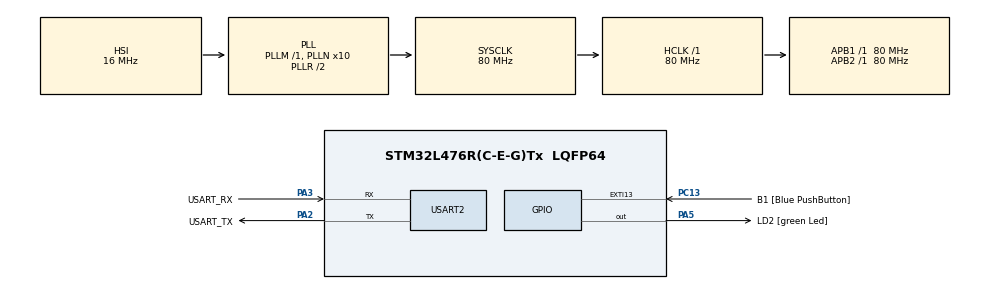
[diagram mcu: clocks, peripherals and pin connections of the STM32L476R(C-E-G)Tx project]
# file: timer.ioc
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Mcu.Family=STM32L4
Mcu.Name=STM32L476R(C-E-G)Tx
Mcu.Package=LQFP64
NVIC.EXTI15_10_IRQn=true\:0\:0\:false\:false\:true\:true\:true\:true
NVIC.PriorityGroup=NVIC_PRIORITYGROUP_4
NVIC.TIM6_DAC_IRQn=true\:0\:0\:false\:false\:true\:true\:true\:true
PA13\ (JTMS-SWDIO).GPIO_Label=TMS
PA13\ (JTMS-SWDIO).Mode=Serial_Wire
PA13\ (JTMS-SWDIO).Signal=SYS_JTMS-SWDIO
PA14\ (JTCK-SWCLK).GPIO_Label=TCK
PA14\ (JTCK-SWCLK).Mode=Serial_Wire
PA14\ (JTCK-SWCLK).Signal=SYS_JTCK-SWCLK
PA2.GPIO_Label=USART_TX
PA2.GPIO_Mode=GPIO_MODE_AF_PP
PA2.GPIO_PuPd=GPIO_NOPULL
PA2.GPIO_Speed=GPIO_SPEED_FREQ_VERY_HIGH
PA2.Mode=Asynchronous
PA2.Signal=USART2_TX
PA3.GPIO_Label=USART_RX
PA3.GPIO_Mode=GPIO_MODE_AF_PP
PA3.GPIO_PuPd=GPIO_NOPULL
PA3.GPIO_Speed=GPIO_SPEED_FREQ_VERY_HIGH
PA3.Mode=Asynchronous
PA3.Signal=USART2_RX
PA5.GPIO_Label=LD2 [green Led]
PA5.GPIO_ModeDefaultOutputPP=GPIO_MODE_OUTPUT_PP
PA5.GPIO_PuPd=GPIO_NOPULL
PA5.GPIO_Speed=GPIO_SPEED_FREQ_LOW
PA5.Signal=GPIO_Output
PB3\ (JTDO-TRACESWO).GPIO_Label=SWO
PB3\ (JTDO-TRACESWO).Signal=SYS_JTDO-SWO
PC13.GPIO_Label=B1 [Blue PushButton]
PC13.GPIO_ModeDefaultEXTI=GPIO_MODE_IT_FALLING
PC13.GPIO_PuPd=GPIO_NOPULL
PC13.Signal=GPXTI13
PC14-OSC32_IN\ (PC14).Mode=LSE-External-Oscillator
PC14-OSC32_IN\ (PC14).Signal=RCC_OSC32_IN
PC15-OSC32_OUT\ (PC15).Mode=LSE-External-Oscillator
PC15-OSC32_OUT\ (PC15).Signal=RCC_OSC32_OUT
PH0-OSC_IN\ (PH0).Signal=RCC_OSC_IN
PH1-OSC_OUT\ (PH1).Signal=RCC_OSC_OUT
ProjectManager.HeapSize=0x200
ProjectManager.StackSize=0x400
ProjectManager.TargetToolchain=STM32CubeIDE
RCC.ADCFreq_Value=64000000
RCC.AHBFreq_Value=80000000
RCC.APB1Freq_Value=80000000
RCC.APB1TimFreq_Value=80000000
RCC.APB2Freq_Value=80000000
RCC.APB2TimFreq_Value=80000000
RCC.CortexFreq_Value=80000000
RCC.HCLKFreq_Value=80000000
RCC.HSE_VALUE=8000000
RCC.HSI_VALUE=16000000
RCC.MSI_VALUE=4000000
RCC.PLLN=10
RCC.PLLSourceVirtual=RCC_PLLSOURCE_HSI
RCC.PREFETCH_ENABLE=1
RCC.SYSCLKFreq_VALUE=80000000
RCC.SYSCLKSource=RCC_SYSCLKSOURCE_PLLCLK
RCC.USBFreq_Value=64000000
RCC.VCOOutputFreq_Value=160000000
TIM6.Period=4999
TIM6.Prescaler=7999
USART2.VirtualMode-Asynchronous=VM_ASYNC
VP_TIM6_VS_ClockSourceINT.Mode=Enable_Timer
board=NUCLEO-L476RG

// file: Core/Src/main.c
/* USER CODE BEGIN Header */
/**
  ******************************************************************************
  * @file           : main.c
  * @brief          : Main program body
  ******************************************************************************
  * @attention
  *
  * Copyright (c) 2022 STMicroelectronics.
  * All rights reserved.
  *
  * This software is licensed under terms that can be found in the LICENSE file
  * in the root directory of this software component.
  * If no LICENSE file comes with this software, it is provided AS-IS.
  *
  ******************************************************************************
  */
/* USER CODE END Header */
#include "main.h"

/* USER CODE BEGIN Includes */
#include <stdio.h>
#include <string.h>
/* USER CODE END Includes */

 TIM_HandleTypeDef htim6;

UART_HandleTypeDef huart2;

void SystemClock_Config(void);
static void MX_GPIO_Init(void);
static void MX_USART2_UART_Init(void);
static void MX_TIM6_Init(void);

/* USER CODE BEGIN 0 */
/////////////////////////////////////////////////////////////////////////
// Led task definitions and functions
/////////////////////////////////////////////////////////////////////////

/*enum LedTaskState
{
	LedOn,
	LedOff,
};

enum LedTaskState ledState;
int ledCount;
int ledMaxCount;

void ledTask()
{
	if (ledState == LedOn)
	{
		if (ledCount++ >= ledMaxCount)
		{
			HAL_GPIO_TogglePin(LD2_GPIO_Port, LD2_Pin);
			ledCount = 0;
		}
	}
	else if (ledState == LedOff)
	{
		//HAL_GPIO_WritePin(LD2_GPIO_Port, LD2_Pin, 0);
	}
}

void ledStart(int maxCount)
{
	ledState = LedOn;
	ledMaxCount = maxCount;
}

void ledStop()
{
	ledState = LedOff;
	HAL_GPIO_WritePin(LD2_GPIO_Port, LD2_Pin, 0);
}
*/
/////////////////////////////////////////////////////////////////////////
// Communication task definitions and functions
/////////////////////////////////////////////////////////////////////////

#define MAX_BUFFER_LENGTH 100

uint8_t cmdbuffer[MAX_BUFFER_LENGTH];
int cmdcount = 0;

int Communication_commTask()
{
	uint8_t ch;

	HAL_StatusTypeDef Status = HAL_UART_Receive(&huart2, &ch, 1, 0);
	if (Status != HAL_OK) {
		return 0;
	}

	if (ch != '\r' && ch != '\n')
	{
		HAL_UART_Transmit(&huart2, &ch, 1, 0xFFFF);

		if (cmdcount >= MAX_BUFFER_LENGTH)
		{
			cmdcount = 0;
		}

		cmdbuffer[cmdcount++] = ch;
		return 0;
	}

	HAL_UART_Transmit(&huart2, (uint8_t*)"\r\n", 2, 0xFFFF);

	cmdbuffer[cmdcount] = 0;
	cmdcount = 0;
	return 1;
}

/////////////////////////////////////////////////////////////////////////
// REdirecting printf to UART
/////////////////////////////////////////////////////////////////////////
int _write(int fd, char* ptr, int len)
{
    HAL_UART_Transmit(&huart2, (uint8_t *) ptr, len, HAL_MAX_DELAY);
    return len;
}

void Communication_handleCommand()
{
  char cmd[20];
  int maxCount;

  int params = sscanf((const char*)cmdbuffer, "%s %d", cmd, &maxCount);

  if (params == 0)
  {
	  return;
  }

  if (strcmp(cmd, "start") == 0)
  {
	  HAL_TIM_Base_Start_IT(&htim6);
	  __HAL_TIM_SET_COUNTER(&htim6,0);
	  __HAL_TIM_SET_AUTORELOAD(&htim6, maxCount*10);
  }
  else if (strcmp(cmd, "stop") == 0)
  {
	  HAL_TIM_Base_Stop_IT(&htim6);
	  HAL_GPIO_WritePin(LD2_GPIO_Port, LD2_Pin, 0);
  }
  else
  {
	  printf("Invalid command\r\n");
  }
}

void HAL_TIM_PeriodElapsedCallback(TIM_HandleTypeDef * htim)
{
	HAL_GPIO_TogglePin(LD2_GPIO_Port, LD2_Pin );
}

/* USER CODE END 0 */

int main(void)
{

  /* MCU Configuration--------------------------------------------------------*/

  /* Reset of all peripherals, Initializes the Flash interface and the Systick. */
  HAL_Init();

  /* Configure the system clock */
  SystemClock_Config();

  /* Initialize all configured peripherals */
  MX_GPIO_Init();
  MX_USART2_UART_Init();
  MX_TIM6_Init();
  /* USER CODE BEGIN 2 */
  HAL_NVIC_EnableIRQ(TIM6_IRQn);

  /* USER CODE END 2 */

  /* Infinite loop */
  while (1)
  {

	  	  if (Communication_commTask())
	  	  {
	  		  Communication_handleCommand();
	  	  }

  }
}

void SystemClock_Config(void)
{
  RCC_OscInitTypeDef RCC_OscInitStruct = {0};
  RCC_ClkInitTypeDef RCC_ClkInitStruct = {0};

  /** Configure the main internal regulator output voltage
  */
  if (HAL_PWREx_ControlVoltageScaling(PWR_REGULATOR_VOLTAGE_SCALE1) != HAL_OK)
  {
    Error_Handler();
  }

  /** Initializes the RCC Oscillators according to the specified parameters
  * in the RCC_OscInitTypeDef structure.
  */
  RCC_OscInitStruct.OscillatorType = RCC_OSCILLATORTYPE_HSI;
  RCC_OscInitStruct.HSIState = RCC_HSI_ON;
  RCC_OscInitStruct.HSICalibrationValue = RCC_HSICALIBRATION_DEFAULT;
  RCC_OscInitStruct.PLL.PLLState = RCC_PLL_ON;
  RCC_OscInitStruct.PLL.PLLSource = RCC_PLLSOURCE_HSI;
  RCC_OscInitStruct.PLL.PLLM = 1;
  RCC_OscInitStruct.PLL.PLLN = 10;
  RCC_OscInitStruct.PLL.PLLP = RCC_PLLP_DIV7;
  RCC_OscInitStruct.PLL.PLLQ = RCC_PLLQ_DIV2;
  RCC_OscInitStruct.PLL.PLLR = RCC_PLLR_DIV2;
  if (HAL_RCC_OscConfig(&RCC_OscInitStruct) != HAL_OK)
  {
    Error_Handler();
  }

  /** Initializes the CPU, AHB and APB buses clocks
  */
  RCC_ClkInitStruct.ClockType = RCC_CLOCKTYPE_HCLK|RCC_CLOCKTYPE_SYSCLK
                              |RCC_CLOCKTYPE_PCLK1|RCC_CLOCKTYPE_PCLK2;
  RCC_ClkInitStruct.SYSCLKSource = RCC_SYSCLKSOURCE_PLLCLK;
  RCC_ClkInitStruct.AHBCLKDivider = RCC_SYSCLK_DIV1;
  RCC_ClkInitStruct.APB1CLKDivider = RCC_HCLK_DIV1;
  RCC_ClkInitStruct.APB2CLKDivider = RCC_HCLK_DIV1;

  if (HAL_RCC_ClockConfig(&RCC_ClkInitStruct, FLASH_LATENCY_4) != HAL_OK)
  {
    Error_Handler();
  }
}

static void MX_TIM6_Init(void)
{

  TIM_MasterConfigTypeDef sMasterConfig = {0};

  htim6.Instance = TIM6;
  htim6.Init.Prescaler = 7999;
  htim6.Init.CounterMode = TIM_COUNTERMODE_UP;
  htim6.Init.Period = 4999;
  htim6.Init.AutoReloadPreload = TIM_AUTORELOAD_PRELOAD_DISABLE;
  if (HAL_TIM_Base_Init(&htim6) != HAL_OK)
  {
    Error_Handler();
  }
  sMasterConfig.MasterOutputTrigger = TIM_TRGO_RESET;
  sMasterConfig.MasterSlaveMode = TIM_MASTERSLAVEMODE_DISABLE;
  if (HAL_TIMEx_MasterConfigSynchronization(&htim6, &sMasterConfig) != HAL_OK)
  {
    Error_Handler();
  }

}

static void MX_USART2_UART_Init(void)
{

  huart2.Instance = USART2;
  huart2.Init.BaudRate = 115200;
  huart2.Init.WordLength = UART_WORDLENGTH_8B;
  huart2.Init.StopBits = UART_STOPBITS_1;
  huart2.Init.Parity = UART_PARITY_NONE;
  huart2.Init.Mode = UART_MODE_TX_RX;
  huart2.Init.HwFlowCtl = UART_HWCONTROL_NONE;
  huart2.Init.OverSampling = UART_OVERSAMPLING_16;
  huart2.Init.OneBitSampling = UART_ONE_BIT_SAMPLE_DISABLE;
  huart2.AdvancedInit.AdvFeatureInit = UART_ADVFEATURE_NO_INIT;
  if (HAL_UART_Init(&huart2) != HAL_OK)
  {
    Error_Handler();
  }

}

static void MX_GPIO_Init(void)
{
  GPIO_InitTypeDef GPIO_InitStruct = {0};

  /* GPIO Ports Clock Enable */
  __HAL_RCC_GPIOC_CLK_ENABLE();
  __HAL_RCC_GPIOH_CLK_ENABLE();
  __HAL_RCC_GPIOA_CLK_ENABLE();
  __HAL_RCC_GPIOB_CLK_ENABLE();

  /*Configure GPIO pin Output Level */
  HAL_GPIO_WritePin(LD2_GPIO_Port, LD2_Pin, GPIO_PIN_RESET);

  /*Configure GPIO pin : B1_Pin */
  GPIO_InitStruct.Pin = B1_Pin;
  GPIO_InitStruct.Mode = GPIO_MODE_IT_FALLING;
  GPIO_InitStruct.Pull = GPIO_NOPULL;
  HAL_GPIO_Init(B1_GPIO_Port, &GPIO_InitStruct);

  /*Configure GPIO pin : LD2_Pin */
  GPIO_InitStruct.Pin = LD2_Pin;
  GPIO_InitStruct.Mode = GPIO_MODE_OUTPUT_PP;
  GPIO_InitStruct.Pull = GPIO_NOPULL;
  GPIO_InitStruct.Speed = GPIO_SPEED_FREQ_LOW;
  HAL_GPIO_Init(LD2_GPIO_Port, &GPIO_InitStruct);

  /* EXTI interrupt init*/
  HAL_NVIC_SetPriority(EXTI15_10_IRQn, 0, 0);
  HAL_NVIC_EnableIRQ(EXTI15_10_IRQn);

}

void Error_Handler(void)
{
  __disable_irq();
  while (1)
  {
  }
}
